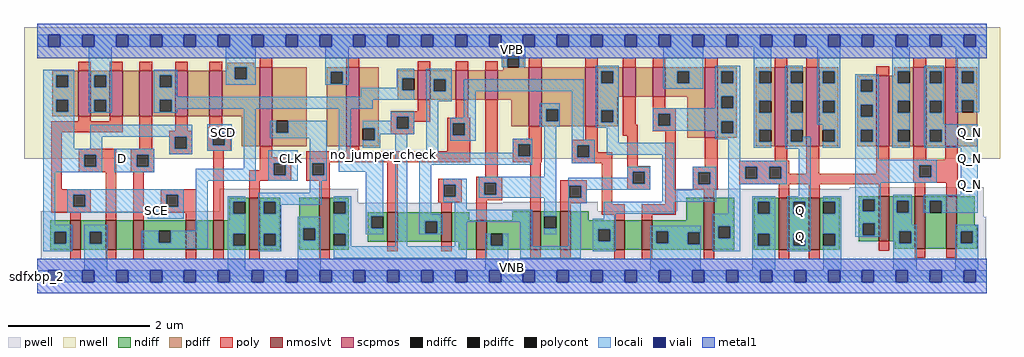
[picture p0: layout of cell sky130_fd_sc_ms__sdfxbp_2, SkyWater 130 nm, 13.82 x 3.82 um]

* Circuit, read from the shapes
.subckt sky130_fd_sc_ms__sdfxbp_2 CLK D SCD SCE VGND VNB VPB VPWR Q Q_N
XM1 VGND SCE n1 VNB sky130_fd_pr__nfet_01v8_lvt w=0.42 l=0.15
XM2 n2 n1 VGND VNB sky130_fd_pr__nfet_01v8_lvt w=0.42 l=0.15
XM3 n3 D n2 VNB sky130_fd_pr__nfet_01v8_lvt w=0.42 l=0.15
XM4 n4 SCE n3 VNB sky130_fd_pr__nfet_01v8_lvt w=0.42 l=0.15
XM5 VGND SCD n4 VNB sky130_fd_pr__nfet_01v8_lvt w=0.42 l=0.15
XM6 n5 CLK VGND VNB sky130_fd_pr__nfet_01v8_lvt w=0.74 l=0.15
XM7 n6 n5 VGND VNB sky130_fd_pr__nfet_01v8_lvt w=0.74 l=0.15
XM8 n7 n5 n3 VNB sky130_fd_pr__nfet_01v8_lvt w=0.42 l=0.15
XM9 n8 n6 n7 VNB sky130_fd_pr__nfet_01v8_lvt w=0.42 l=0.15
XM10 VGND n9 n8 VNB sky130_fd_pr__nfet_01v8_lvt w=0.42 l=0.15
XM11 n9 n7 VGND VNB sky130_fd_pr__nfet_01v8_lvt w=0.55 l=0.15
XM12 n10 n6 n9 VNB sky130_fd_pr__nfet_01v8_lvt w=0.55 l=0.15
XM13 n11 n5 n10 VNB sky130_fd_pr__nfet_01v8_lvt w=0.42 l=0.15
XM14 VGND n12 n11 VNB sky130_fd_pr__nfet_01v8_lvt w=0.42 l=0.15
XM15 n12 n10 VGND VNB sky130_fd_pr__nfet_01v8_lvt w=0.74 l=0.15
XM16 Q n12 VGND VNB sky130_fd_pr__nfet_01v8_lvt w=0.74 l=0.15 m=2
XM17 VGND n12 n13 VNB sky130_fd_pr__nfet_01v8_lvt w=0.64 l=0.15
XM18 Q_N n13 VGND VNB sky130_fd_pr__nfet_01v8_lvt w=0.74 l=0.15 m=2
XM19 VPWR SCE n1 VPB sky130_fd_pr__pfet_01v8 w=0.64 l=0.18
XM20 n14 SCE VPWR VPB sky130_fd_pr__pfet_01v8 w=0.64 l=0.18
XM21 n3 D n14 VPB sky130_fd_pr__pfet_01v8 w=0.64 l=0.18
XM22 n15 n1 n3 VPB sky130_fd_pr__pfet_01v8 w=0.64 l=0.18
XM23 VPWR SCD n15 VPB sky130_fd_pr__pfet_01v8 w=0.64 l=0.18
XM24 n5 CLK VPWR VPB sky130_fd_pr__pfet_01v8 w=1.12 l=0.18
XM25 n6 n5 VPWR VPB sky130_fd_pr__pfet_01v8 w=1.12 l=0.18
XM26 n7 n6 n3 VPB sky130_fd_pr__pfet_01v8 w=0.42 l=0.18
XM27 n16 n5 n7 VPB sky130_fd_pr__pfet_01v8 w=0.42 l=0.18
XM28 VPWR n9 n16 VPB sky130_fd_pr__pfet_01v8 w=0.42 l=0.18
XM29 n9 n7 VPWR VPB sky130_fd_pr__pfet_01v8 w=0.84 l=0.18
XM30 n10 n5 n9 VPB sky130_fd_pr__pfet_01v8 w=0.84 l=0.18
XM31 n17 n6 n10 VPB sky130_fd_pr__pfet_01v8 w=0.42 l=0.18
XM32 VPWR n12 n17 VPB sky130_fd_pr__pfet_01v8 w=0.42 l=0.18
XM33 n12 n10 VPWR VPB sky130_fd_pr__pfet_01v8 w=1 l=0.18
XM34 Q n12 VPWR VPB sky130_fd_pr__pfet_01v8 w=1.12 l=0.18 m=2
XM35 VPWR n12 n13 VPB sky130_fd_pr__pfet_01v8 w=1 l=0.18
XM36 Q_N n13 VPWR VPB sky130_fd_pr__pfet_01v8 w=1.12 l=0.18 m=2
.ends

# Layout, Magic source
magic
tech sky130A
magscale 1 2
<< nwell >>
rect -38 332 2726 704
<< pwell >>
rect 2300 248 2680 252
rect 517 207 908 248
rect 1319 207 1587 210
rect 517 184 1587 207
rect 1811 184 2680 248
rect 10 168 2680 184
rect 10 49 2687 168
rect 0 0 2688 49
<< scpmos >>
rect 115 453 151 581
rect 205 453 241 581
rect 289 453 325 581
rect 390 453 426 581
rect 487 453 523 581
rect 629 368 665 592
rect 875 368 911 592
rect 1077 499 1113 583
rect 1184 499 1220 583
rect 1268 499 1304 583
rect 1392 424 1428 592
rect 1551 424 1587 592
rect 1658 508 1694 592
rect 1742 508 1778 592
rect 1890 392 1926 592
rect 2088 368 2124 592
rect 2178 368 2214 592
rect 2376 368 2412 568
rect 2481 368 2517 592
rect 2571 368 2607 592
<< nmoslvt >>
rect 93 74 123 158
rect 193 74 223 158
rect 271 74 301 158
rect 420 74 450 158
rect 498 74 528 158
rect 600 74 630 222
rect 798 74 828 222
rect 991 97 1021 181
rect 1143 97 1173 181
rect 1243 74 1273 158
rect 1395 74 1425 184
rect 1481 74 1511 184
rect 1633 74 1663 158
rect 1711 74 1741 158
rect 1887 74 1917 222
rect 2099 74 2129 222
rect 2185 74 2215 222
rect 2383 98 2413 226
rect 2485 78 2515 226
rect 2574 78 2604 226
<< ndiff >>
rect 543 210 600 222
rect 543 176 555 210
rect 589 176 600 210
rect 543 158 600 176
rect 36 125 93 158
rect 36 91 48 125
rect 82 91 93 125
rect 36 74 93 91
rect 123 125 193 158
rect 123 91 148 125
rect 182 91 193 125
rect 123 74 193 91
rect 223 74 271 158
rect 301 128 420 158
rect 301 94 343 128
rect 377 94 420 128
rect 301 74 420 94
rect 450 74 498 158
rect 528 120 600 158
rect 528 86 555 120
rect 589 86 600 120
rect 528 74 600 86
rect 630 210 687 222
rect 630 176 641 210
rect 675 176 687 210
rect 630 120 687 176
rect 630 86 641 120
rect 675 86 687 120
rect 630 74 687 86
rect 741 136 798 222
rect 741 102 753 136
rect 787 102 798 136
rect 741 74 798 102
rect 828 210 882 222
rect 828 176 839 210
rect 873 176 882 210
rect 828 120 882 176
rect 828 86 839 120
rect 873 86 882 120
rect 936 169 991 181
rect 936 135 946 169
rect 980 135 991 169
rect 936 97 991 135
rect 1021 156 1143 181
rect 1021 122 1098 156
rect 1132 122 1143 156
rect 1021 97 1143 122
rect 1173 158 1223 181
rect 1345 158 1395 184
rect 1173 97 1243 158
rect 828 74 882 86
rect 1193 74 1243 97
rect 1273 120 1395 158
rect 1273 86 1284 120
rect 1318 86 1395 120
rect 1273 74 1395 86
rect 1425 170 1481 184
rect 1425 136 1436 170
rect 1470 136 1481 170
rect 1425 74 1481 136
rect 1511 158 1561 184
rect 1837 158 1887 222
rect 1511 133 1633 158
rect 1511 99 1588 133
rect 1622 99 1633 133
rect 1511 74 1633 99
rect 1663 74 1711 158
rect 1741 127 1887 158
rect 1741 93 1752 127
rect 1786 124 1887 127
rect 1786 93 1842 124
rect 1741 90 1842 93
rect 1876 90 1887 124
rect 1741 74 1887 90
rect 1917 141 1974 222
rect 1917 107 1928 141
rect 1962 107 1974 141
rect 1917 74 1974 107
rect 2028 210 2099 222
rect 2028 176 2040 210
rect 2074 176 2099 210
rect 2028 120 2099 176
rect 2028 86 2040 120
rect 2074 86 2099 120
rect 2028 74 2099 86
rect 2129 210 2185 222
rect 2129 176 2140 210
rect 2174 176 2185 210
rect 2129 120 2185 176
rect 2129 86 2140 120
rect 2174 86 2185 120
rect 2129 74 2185 86
rect 2215 210 2272 222
rect 2215 176 2226 210
rect 2260 176 2272 210
rect 2215 120 2272 176
rect 2215 86 2226 120
rect 2260 86 2272 120
rect 2326 218 2383 226
rect 2326 184 2338 218
rect 2372 184 2383 218
rect 2326 150 2383 184
rect 2326 116 2338 150
rect 2372 116 2383 150
rect 2326 98 2383 116
rect 2413 214 2485 226
rect 2413 180 2434 214
rect 2468 180 2485 214
rect 2413 127 2485 180
rect 2413 98 2440 127
rect 2215 74 2272 86
rect 2428 93 2440 98
rect 2474 93 2485 127
rect 2428 78 2485 93
rect 2515 214 2574 226
rect 2515 180 2527 214
rect 2561 180 2574 214
rect 2515 78 2574 180
rect 2604 142 2654 226
rect 2604 127 2661 142
rect 2604 93 2615 127
rect 2649 93 2661 127
rect 2604 78 2661 93
<< pdiff >>
rect 1319 625 1377 637
rect 538 592 614 604
rect 538 581 559 592
rect 42 569 115 581
rect 42 535 54 569
rect 88 535 115 569
rect 42 499 115 535
rect 42 465 54 499
rect 88 465 115 499
rect 42 453 115 465
rect 151 569 205 581
rect 151 535 161 569
rect 195 535 205 569
rect 151 499 205 535
rect 151 465 161 499
rect 195 465 205 499
rect 151 453 205 465
rect 241 453 289 581
rect 325 569 390 581
rect 325 535 346 569
rect 380 535 390 569
rect 325 499 390 535
rect 325 465 346 499
rect 380 465 390 499
rect 325 453 390 465
rect 426 453 487 581
rect 523 558 559 581
rect 593 558 629 592
rect 523 453 629 558
rect 579 368 629 453
rect 665 440 763 592
rect 665 406 676 440
rect 710 406 763 440
rect 665 368 763 406
rect 819 578 875 592
rect 819 544 831 578
rect 865 544 875 578
rect 819 368 875 544
rect 911 419 967 592
rect 1319 591 1331 625
rect 1365 592 1377 625
rect 1365 591 1392 592
rect 1319 583 1392 591
rect 1021 560 1077 583
rect 1021 526 1033 560
rect 1067 526 1077 560
rect 1021 499 1077 526
rect 1113 558 1184 583
rect 1113 524 1123 558
rect 1157 524 1184 558
rect 1113 499 1184 524
rect 1220 499 1268 583
rect 1304 499 1392 583
rect 911 385 921 419
rect 955 385 967 419
rect 911 368 967 385
rect 1342 424 1392 499
rect 1428 473 1551 592
rect 1428 439 1441 473
rect 1475 439 1551 473
rect 1428 424 1551 439
rect 1587 580 1658 592
rect 1587 546 1597 580
rect 1631 546 1658 580
rect 1587 508 1658 546
rect 1694 508 1742 592
rect 1778 580 1890 592
rect 1778 546 1812 580
rect 1846 546 1890 580
rect 1778 508 1890 546
rect 1587 470 1643 508
rect 1587 436 1597 470
rect 1631 436 1643 470
rect 1587 424 1643 436
rect 1840 392 1890 508
rect 1926 580 1980 592
rect 1926 546 1936 580
rect 1970 546 1980 580
rect 1926 509 1980 546
rect 1926 475 1936 509
rect 1970 475 1980 509
rect 1926 438 1980 475
rect 1926 404 1936 438
rect 1970 404 1980 438
rect 1926 392 1980 404
rect 2034 580 2088 592
rect 2034 546 2044 580
rect 2078 546 2088 580
rect 2034 497 2088 546
rect 2034 463 2044 497
rect 2078 463 2088 497
rect 2034 414 2088 463
rect 2034 380 2044 414
rect 2078 380 2088 414
rect 2034 368 2088 380
rect 2124 580 2178 592
rect 2124 546 2134 580
rect 2168 546 2178 580
rect 2124 497 2178 546
rect 2124 463 2134 497
rect 2168 463 2178 497
rect 2124 414 2178 463
rect 2124 380 2134 414
rect 2168 380 2178 414
rect 2124 368 2178 380
rect 2214 580 2268 592
rect 2214 546 2224 580
rect 2258 546 2268 580
rect 2427 580 2481 592
rect 2427 568 2437 580
rect 2214 497 2268 546
rect 2214 463 2224 497
rect 2258 463 2268 497
rect 2214 414 2268 463
rect 2214 380 2224 414
rect 2258 380 2268 414
rect 2214 368 2268 380
rect 2322 556 2376 568
rect 2322 522 2332 556
rect 2366 522 2376 556
rect 2322 485 2376 522
rect 2322 451 2332 485
rect 2366 451 2376 485
rect 2322 414 2376 451
rect 2322 380 2332 414
rect 2366 380 2376 414
rect 2322 368 2376 380
rect 2412 546 2437 568
rect 2471 546 2481 580
rect 2412 497 2481 546
rect 2412 463 2437 497
rect 2471 463 2481 497
rect 2412 414 2481 463
rect 2412 380 2437 414
rect 2471 380 2481 414
rect 2412 368 2481 380
rect 2517 580 2571 592
rect 2517 546 2527 580
rect 2561 546 2571 580
rect 2517 497 2571 546
rect 2517 463 2527 497
rect 2561 463 2571 497
rect 2517 414 2571 463
rect 2517 380 2527 414
rect 2561 380 2571 414
rect 2517 368 2571 380
rect 2607 580 2661 592
rect 2607 546 2617 580
rect 2651 546 2661 580
rect 2607 498 2661 546
rect 2607 464 2617 498
rect 2651 464 2661 498
rect 2607 368 2661 464
<< ndiffc >>
rect 555 176 589 210
rect 48 91 82 125
rect 148 91 182 125
rect 343 94 377 128
rect 555 86 589 120
rect 641 176 675 210
rect 641 86 675 120
rect 753 102 787 136
rect 839 176 873 210
rect 839 86 873 120
rect 946 135 980 169
rect 1098 122 1132 156
rect 1284 86 1318 120
rect 1436 136 1470 170
rect 1588 99 1622 133
rect 1752 93 1786 127
rect 1842 90 1876 124
rect 1928 107 1962 141
rect 2040 176 2074 210
rect 2040 86 2074 120
rect 2140 176 2174 210
rect 2140 86 2174 120
rect 2226 176 2260 210
rect 2226 86 2260 120
rect 2338 184 2372 218
rect 2338 116 2372 150
rect 2434 180 2468 214
rect 2440 93 2474 127
rect 2527 180 2561 214
rect 2615 93 2649 127
<< pdiffc >>
rect 54 535 88 569
rect 54 465 88 499
rect 161 535 195 569
rect 161 465 195 499
rect 346 535 380 569
rect 346 465 380 499
rect 559 558 593 592
rect 676 406 710 440
rect 831 544 865 578
rect 1331 591 1365 625
rect 1033 526 1067 560
rect 1123 524 1157 558
rect 921 385 955 419
rect 1441 439 1475 473
rect 1597 546 1631 580
rect 1812 546 1846 580
rect 1597 436 1631 470
rect 1936 546 1970 580
rect 1936 475 1970 509
rect 1936 404 1970 438
rect 2044 546 2078 580
rect 2044 463 2078 497
rect 2044 380 2078 414
rect 2134 546 2168 580
rect 2134 463 2168 497
rect 2134 380 2168 414
rect 2224 546 2258 580
rect 2224 463 2258 497
rect 2224 380 2258 414
rect 2332 522 2366 556
rect 2332 451 2366 485
rect 2332 380 2366 414
rect 2437 546 2471 580
rect 2437 463 2471 497
rect 2437 380 2471 414
rect 2527 546 2561 580
rect 2527 463 2561 497
rect 2527 380 2561 414
rect 2617 546 2651 580
rect 2617 464 2651 498
<< poly >>
rect 115 581 151 607
rect 205 581 241 607
rect 289 581 325 607
rect 390 581 426 607
rect 487 581 523 607
rect 629 592 665 618
rect 875 592 911 618
rect 115 438 151 453
rect 205 438 241 453
rect 39 408 241 438
rect 39 246 69 408
rect 289 360 325 453
rect 390 411 426 453
rect 487 421 523 453
rect 373 395 439 411
rect 373 361 389 395
rect 423 361 439 395
rect 117 344 223 360
rect 117 310 133 344
rect 167 310 223 344
rect 117 294 223 310
rect 265 344 331 360
rect 373 345 439 361
rect 481 405 547 421
rect 481 371 497 405
rect 531 371 547 405
rect 481 355 547 371
rect 1077 583 1113 609
rect 1184 583 1220 609
rect 1268 583 1304 609
rect 1392 592 1428 618
rect 1551 592 1587 618
rect 1658 592 1694 618
rect 1742 592 1778 618
rect 1890 592 1926 618
rect 2088 592 2124 618
rect 2178 592 2214 618
rect 1077 467 1113 499
rect 1001 451 1113 467
rect 1001 417 1017 451
rect 1051 437 1113 451
rect 1184 449 1220 499
rect 1051 417 1067 437
rect 1001 401 1067 417
rect 1160 433 1226 449
rect 1160 399 1176 433
rect 1210 399 1226 433
rect 265 310 281 344
rect 315 310 331 344
rect 265 294 331 310
rect 39 230 151 246
rect 39 196 101 230
rect 135 196 151 230
rect 39 180 151 196
rect 93 158 123 180
rect 193 158 223 294
rect 271 158 301 294
rect 349 230 450 246
rect 349 196 365 230
rect 399 196 450 230
rect 349 180 450 196
rect 420 158 450 180
rect 498 158 528 355
rect 629 336 665 368
rect 875 353 911 368
rect 1160 353 1226 399
rect 629 320 719 336
rect 629 300 669 320
rect 600 286 669 300
rect 703 286 719 320
rect 600 270 719 286
rect 762 323 1226 353
rect 762 320 828 323
rect 762 286 778 320
rect 812 286 828 320
rect 762 270 828 286
rect 600 222 630 270
rect 798 222 828 270
rect 991 181 1021 323
rect 1268 281 1304 499
rect 1658 428 1694 508
rect 1742 476 1778 508
rect 1742 460 1808 476
rect 1392 389 1428 424
rect 1346 373 1428 389
rect 1551 386 1587 424
rect 1658 398 1700 428
rect 1742 426 1758 460
rect 1792 426 1808 460
rect 1742 410 1808 426
rect 1346 339 1362 373
rect 1396 339 1428 373
rect 1346 323 1428 339
rect 1513 370 1587 386
rect 1513 336 1529 370
rect 1563 350 1587 370
rect 1563 336 1628 350
rect 1135 259 1201 275
rect 1135 225 1151 259
rect 1185 225 1201 259
rect 1135 209 1201 225
rect 1243 265 1316 281
rect 1243 231 1266 265
rect 1300 231 1316 265
rect 1243 215 1316 231
rect 1143 181 1173 209
rect 1243 158 1273 215
rect 1395 184 1425 323
rect 1513 320 1628 336
rect 1481 256 1556 272
rect 1481 222 1506 256
rect 1540 222 1556 256
rect 1481 206 1556 222
rect 1481 184 1511 206
rect 1598 203 1628 320
rect 1670 311 1700 398
rect 1670 295 1736 311
rect 1670 261 1686 295
rect 1720 261 1736 295
rect 1670 245 1736 261
rect 1778 203 1808 410
rect 1890 310 1926 392
rect 2376 568 2412 594
rect 2481 592 2517 618
rect 2571 592 2607 618
rect 2088 326 2124 368
rect 1856 294 1926 310
rect 1856 260 1872 294
rect 1906 260 1926 294
rect 1988 310 2129 326
rect 1988 276 2004 310
rect 2038 276 2072 310
rect 2106 290 2129 310
rect 2178 290 2214 368
rect 2376 290 2412 368
rect 2481 330 2517 368
rect 2571 330 2607 368
rect 2481 314 2607 330
rect 2106 276 2413 290
rect 1988 260 2413 276
rect 2481 280 2497 314
rect 2531 280 2607 314
rect 2481 264 2607 280
rect 1856 244 1926 260
rect 1887 222 1917 244
rect 2099 222 2129 260
rect 2185 222 2215 260
rect 2383 226 2413 260
rect 2485 226 2515 264
rect 2574 226 2604 264
rect 93 48 123 74
rect 193 48 223 74
rect 271 48 301 74
rect 420 48 450 74
rect 498 48 528 74
rect 600 48 630 74
rect 798 48 828 74
rect 991 71 1021 97
rect 1143 71 1173 97
rect 1598 173 1663 203
rect 1633 158 1663 173
rect 1711 173 1808 203
rect 1711 158 1741 173
rect 1243 48 1273 74
rect 1395 48 1425 74
rect 1481 48 1511 74
rect 1633 48 1663 74
rect 1711 48 1741 74
rect 1887 48 1917 74
rect 2099 48 2129 74
rect 2185 48 2215 74
rect 2383 72 2413 98
rect 2485 52 2515 78
rect 2574 52 2604 78
<< polycont >>
rect 389 361 423 395
rect 133 310 167 344
rect 497 371 531 405
rect 1017 417 1051 451
rect 1176 399 1210 433
rect 281 310 315 344
rect 101 196 135 230
rect 365 196 399 230
rect 669 286 703 320
rect 778 286 812 320
rect 1758 426 1792 460
rect 1362 339 1396 373
rect 1529 336 1563 370
rect 1151 225 1185 259
rect 1266 231 1300 265
rect 1506 222 1540 256
rect 1686 261 1720 295
rect 1872 260 1906 294
rect 2004 276 2038 310
rect 2072 276 2106 310
rect 2497 280 2531 314
<< locali >>
rect 0 649 31 683
rect 65 649 127 683
rect 161 649 223 683
rect 257 649 319 683
rect 353 649 415 683
rect 449 649 511 683
rect 545 649 607 683
rect 641 649 703 683
rect 737 649 799 683
rect 833 649 895 683
rect 929 649 991 683
rect 1025 649 1087 683
rect 1121 649 1183 683
rect 1217 649 1279 683
rect 1313 649 1375 683
rect 1409 649 1471 683
rect 1505 649 1567 683
rect 1601 649 1663 683
rect 1697 649 1759 683
rect 1793 649 1855 683
rect 1889 649 1951 683
rect 1985 649 2047 683
rect 2081 649 2143 683
rect 2177 649 2239 683
rect 2273 649 2335 683
rect 2369 649 2431 683
rect 2465 649 2527 683
rect 2561 649 2623 683
rect 2657 649 2688 683
rect 17 569 104 585
rect 17 535 54 569
rect 88 535 104 569
rect 17 499 104 535
rect 17 465 54 499
rect 88 465 104 499
rect 17 360 104 465
rect 145 569 211 649
rect 534 592 618 649
rect 145 535 161 569
rect 195 535 211 569
rect 145 499 211 535
rect 145 465 161 499
rect 195 465 211 499
rect 145 462 211 465
rect 330 569 396 585
rect 330 535 346 569
rect 380 535 396 569
rect 534 558 559 592
rect 593 558 618 592
rect 534 542 618 558
rect 815 578 881 649
rect 1315 625 1381 649
rect 1315 591 1331 625
rect 1365 591 1381 625
rect 815 544 831 578
rect 865 544 881 578
rect 815 542 881 544
rect 1017 560 1067 587
rect 330 508 396 535
rect 1017 533 1033 560
rect 915 526 1033 533
rect 915 508 1067 526
rect 330 499 1067 508
rect 1101 558 1173 587
rect 1101 524 1123 558
rect 1157 524 1173 558
rect 1581 580 1647 596
rect 330 465 346 499
rect 380 474 949 499
rect 1101 495 1173 524
rect 1207 523 1547 557
rect 380 465 396 474
rect 330 462 396 465
rect 149 395 439 428
rect 149 394 389 395
rect 149 360 183 394
rect 373 361 389 394
rect 423 361 439 395
rect 17 344 183 360
rect 17 310 133 344
rect 167 310 183 344
rect 17 294 183 310
rect 217 344 331 360
rect 373 345 439 361
rect 481 405 551 430
rect 481 371 497 405
rect 531 371 551 405
rect 481 355 551 371
rect 217 310 281 344
rect 315 310 331 344
rect 217 294 331 310
rect 585 304 619 474
rect 659 406 676 440
rect 710 406 819 440
rect 659 390 819 406
rect 17 146 51 294
rect 449 270 619 304
rect 653 320 737 356
rect 653 286 669 320
rect 703 286 737 320
rect 653 270 737 286
rect 771 320 819 390
rect 771 286 778 320
rect 812 286 819 320
rect 853 330 887 474
rect 1001 451 1067 465
rect 1001 440 1017 451
rect 921 419 1017 440
rect 955 417 1017 419
rect 1051 417 1067 451
rect 955 401 1067 417
rect 955 385 971 401
rect 921 364 971 385
rect 853 296 980 330
rect 771 270 819 286
rect 85 230 415 246
rect 85 196 101 230
rect 135 196 365 230
rect 399 196 415 230
rect 85 180 415 196
rect 313 162 415 180
rect 17 125 98 146
rect 17 91 48 125
rect 82 91 98 125
rect 17 70 98 91
rect 132 125 198 146
rect 449 128 483 270
rect 771 236 805 270
rect 132 91 148 125
rect 182 91 198 125
rect 132 17 198 91
rect 296 94 343 128
rect 377 94 483 128
rect 296 78 483 94
rect 539 210 589 226
rect 539 176 555 210
rect 539 120 589 176
rect 539 86 555 120
rect 539 17 589 86
rect 625 210 805 236
rect 625 176 641 210
rect 675 202 805 210
rect 839 210 889 226
rect 675 176 691 202
rect 625 120 691 176
rect 873 176 889 210
rect 625 86 641 120
rect 675 86 691 120
rect 625 70 691 86
rect 737 136 803 168
rect 737 102 753 136
rect 787 102 803 136
rect 737 17 803 102
rect 839 120 889 176
rect 873 86 889 120
rect 930 169 980 296
rect 930 135 946 169
rect 930 119 980 135
rect 839 85 889 86
rect 1014 85 1048 401
rect 1101 349 1135 495
rect 1207 449 1241 523
rect 1169 433 1241 449
rect 1169 399 1176 433
rect 1210 399 1241 433
rect 1422 473 1479 489
rect 1422 439 1441 473
rect 1475 439 1479 473
rect 1422 423 1479 439
rect 1169 383 1241 399
rect 1346 373 1402 389
rect 1346 349 1362 373
rect 1082 339 1362 349
rect 1396 339 1402 373
rect 1082 315 1402 339
rect 1082 175 1116 315
rect 1436 281 1470 423
rect 1513 386 1547 523
rect 1581 546 1597 580
rect 1631 546 1647 580
rect 1581 470 1647 546
rect 1772 580 1886 649
rect 1772 546 1812 580
rect 1846 546 1886 580
rect 1772 530 1886 546
rect 1920 580 1990 596
rect 1920 546 1936 580
rect 1970 546 1990 580
rect 1920 509 1990 546
rect 1920 476 1936 509
rect 1581 436 1597 470
rect 1631 436 1647 470
rect 1581 420 1647 436
rect 1513 370 1579 386
rect 1513 336 1529 370
rect 1563 336 1579 370
rect 1613 378 1647 420
rect 1742 475 1936 476
rect 1970 475 1990 509
rect 1742 460 1990 475
rect 1742 426 1758 460
rect 1792 438 1990 460
rect 1792 426 1936 438
rect 1742 412 1936 426
rect 1920 404 1936 412
rect 1970 404 1990 438
rect 1920 388 1990 404
rect 1613 344 1804 378
rect 1513 320 1579 336
rect 1150 259 1216 275
rect 1150 225 1151 259
rect 1185 225 1216 259
rect 1150 209 1216 225
rect 1250 265 1470 281
rect 1670 295 1736 310
rect 1670 279 1686 295
rect 1250 231 1266 265
rect 1300 231 1470 265
rect 1250 222 1470 231
rect 1182 188 1216 209
rect 1082 156 1148 175
rect 1082 122 1098 156
rect 1132 122 1148 156
rect 1082 119 1148 122
rect 1182 154 1402 188
rect 1182 85 1216 154
rect 839 51 1216 85
rect 1268 86 1284 120
rect 1318 86 1334 120
rect 1268 17 1334 86
rect 1368 85 1402 154
rect 1436 170 1470 222
rect 1436 119 1470 136
rect 1504 261 1686 279
rect 1720 261 1736 295
rect 1504 256 1736 261
rect 1504 222 1506 256
rect 1540 245 1736 256
rect 1770 245 1804 344
rect 1956 326 1990 388
rect 2028 580 2078 649
rect 2028 546 2044 580
rect 2028 497 2078 546
rect 2028 463 2044 497
rect 2028 414 2078 463
rect 2028 380 2044 414
rect 2028 364 2078 380
rect 2118 580 2168 596
rect 2118 546 2134 580
rect 2118 497 2168 546
rect 2118 463 2134 497
rect 2118 414 2168 463
rect 2208 580 2274 649
rect 2208 546 2224 580
rect 2258 546 2274 580
rect 2421 580 2471 649
rect 2208 497 2274 546
rect 2208 463 2224 497
rect 2258 463 2274 497
rect 2208 428 2274 463
rect 2118 380 2134 414
rect 2224 414 2274 428
rect 2168 380 2190 394
rect 2118 360 2190 380
rect 2258 380 2274 414
rect 2224 364 2274 380
rect 2316 556 2382 572
rect 2316 522 2332 556
rect 2366 522 2382 556
rect 2316 485 2382 522
rect 2316 451 2332 485
rect 2366 451 2382 485
rect 2316 414 2382 451
rect 2316 380 2332 414
rect 2366 380 2382 414
rect 1956 310 2122 326
rect 1856 294 1922 310
rect 1856 260 1872 294
rect 1906 260 1922 294
rect 1856 245 1922 260
rect 1540 222 1556 245
rect 1504 206 1556 222
rect 1770 211 1922 245
rect 1956 276 2004 310
rect 2038 276 2072 310
rect 2106 276 2122 310
rect 1956 260 2122 276
rect 1504 85 1538 206
rect 1604 177 1804 211
rect 1956 177 1990 260
rect 2156 226 2190 360
rect 2316 330 2382 380
rect 2421 546 2437 580
rect 2421 497 2471 546
rect 2421 463 2437 497
rect 2421 414 2471 463
rect 2421 380 2437 414
rect 2421 364 2471 380
rect 2511 580 2567 596
rect 2511 546 2527 580
rect 2561 546 2567 580
rect 2511 497 2567 546
rect 2511 463 2527 497
rect 2561 463 2567 497
rect 2601 580 2667 649
rect 2601 546 2617 580
rect 2651 546 2667 580
rect 2601 498 2667 546
rect 2601 464 2617 498
rect 2651 464 2667 498
rect 2511 430 2567 463
rect 2511 414 2663 430
rect 2511 380 2527 414
rect 2561 380 2663 414
rect 2511 364 2663 380
rect 2316 314 2547 330
rect 2316 280 2497 314
rect 2531 280 2547 314
rect 2316 264 2547 280
rect 1604 162 1638 177
rect 1368 51 1538 85
rect 1572 133 1638 162
rect 1572 99 1588 133
rect 1622 99 1638 133
rect 1572 70 1638 99
rect 1736 127 1878 143
rect 1736 93 1752 127
rect 1786 124 1878 127
rect 1786 93 1842 124
rect 1736 90 1842 93
rect 1876 90 1878 124
rect 1736 17 1878 90
rect 1912 141 1990 177
rect 1912 107 1928 141
rect 1962 107 1990 141
rect 1912 70 1990 107
rect 2024 210 2090 226
rect 2024 176 2040 210
rect 2074 176 2090 210
rect 2024 120 2090 176
rect 2024 86 2040 120
rect 2074 86 2090 120
rect 2024 17 2090 86
rect 2124 210 2190 226
rect 2124 176 2140 210
rect 2174 176 2190 210
rect 2124 120 2190 176
rect 2124 86 2140 120
rect 2174 86 2190 120
rect 2124 70 2190 86
rect 2226 210 2276 226
rect 2260 176 2276 210
rect 2226 120 2276 176
rect 2260 86 2276 120
rect 2316 218 2388 264
rect 2615 230 2663 364
rect 2316 184 2338 218
rect 2372 184 2388 218
rect 2316 150 2388 184
rect 2316 116 2338 150
rect 2372 116 2388 150
rect 2316 112 2388 116
rect 2424 214 2476 230
rect 2424 180 2434 214
rect 2468 180 2476 214
rect 2510 214 2663 230
rect 2510 180 2527 214
rect 2561 180 2663 214
rect 2424 146 2476 180
rect 2424 127 2490 146
rect 2226 17 2276 86
rect 2424 93 2440 127
rect 2474 93 2490 127
rect 2424 17 2490 93
rect 2599 127 2665 146
rect 2599 93 2615 127
rect 2649 93 2665 127
rect 2599 17 2665 93
rect 0 -17 31 17
rect 65 -17 127 17
rect 161 -17 223 17
rect 257 -17 319 17
rect 353 -17 415 17
rect 449 -17 511 17
rect 545 -17 607 17
rect 641 -17 703 17
rect 737 -17 799 17
rect 833 -17 895 17
rect 929 -17 991 17
rect 1025 -17 1087 17
rect 1121 -17 1183 17
rect 1217 -17 1279 17
rect 1313 -17 1375 17
rect 1409 -17 1471 17
rect 1505 -17 1567 17
rect 1601 -17 1663 17
rect 1697 -17 1759 17
rect 1793 -17 1855 17
rect 1889 -17 1951 17
rect 1985 -17 2047 17
rect 2081 -17 2143 17
rect 2177 -17 2239 17
rect 2273 -17 2335 17
rect 2369 -17 2431 17
rect 2465 -17 2527 17
rect 2561 -17 2623 17
rect 2657 -17 2688 17
<< viali >>
rect 31 649 65 683
rect 127 649 161 683
rect 223 649 257 683
rect 319 649 353 683
rect 415 649 449 683
rect 511 649 545 683
rect 607 649 641 683
rect 703 649 737 683
rect 799 649 833 683
rect 895 649 929 683
rect 991 649 1025 683
rect 1087 649 1121 683
rect 1183 649 1217 683
rect 1279 649 1313 683
rect 1375 649 1409 683
rect 1471 649 1505 683
rect 1567 649 1601 683
rect 1663 649 1697 683
rect 1759 649 1793 683
rect 1855 649 1889 683
rect 1951 649 1985 683
rect 2047 649 2081 683
rect 2143 649 2177 683
rect 2239 649 2273 683
rect 2335 649 2369 683
rect 2431 649 2465 683
rect 2527 649 2561 683
rect 2623 649 2657 683
rect 31 -17 65 17
rect 127 -17 161 17
rect 223 -17 257 17
rect 319 -17 353 17
rect 415 -17 449 17
rect 511 -17 545 17
rect 607 -17 641 17
rect 703 -17 737 17
rect 799 -17 833 17
rect 895 -17 929 17
rect 991 -17 1025 17
rect 1087 -17 1121 17
rect 1183 -17 1217 17
rect 1279 -17 1313 17
rect 1375 -17 1409 17
rect 1471 -17 1505 17
rect 1567 -17 1601 17
rect 1663 -17 1697 17
rect 1759 -17 1793 17
rect 1855 -17 1889 17
rect 1951 -17 1985 17
rect 2047 -17 2081 17
rect 2143 -17 2177 17
rect 2239 -17 2273 17
rect 2335 -17 2369 17
rect 2431 -17 2465 17
rect 2527 -17 2561 17
rect 2623 -17 2657 17
<< metal1 >>
rect 0 683 2688 715
rect 0 649 31 683
rect 65 649 127 683
rect 161 649 223 683
rect 257 649 319 683
rect 353 649 415 683
rect 449 649 511 683
rect 545 649 607 683
rect 641 649 703 683
rect 737 649 799 683
rect 833 649 895 683
rect 929 649 991 683
rect 1025 649 1087 683
rect 1121 649 1183 683
rect 1217 649 1279 683
rect 1313 649 1375 683
rect 1409 649 1471 683
rect 1505 649 1567 683
rect 1601 649 1663 683
rect 1697 649 1759 683
rect 1793 649 1855 683
rect 1889 649 1951 683
rect 1985 649 2047 683
rect 2081 649 2143 683
rect 2177 649 2239 683
rect 2273 649 2335 683
rect 2369 649 2431 683
rect 2465 649 2527 683
rect 2561 649 2623 683
rect 2657 649 2688 683
rect 0 617 2688 649
rect 0 17 2688 49
rect 0 -17 31 17
rect 65 -17 127 17
rect 161 -17 223 17
rect 257 -17 319 17
rect 353 -17 415 17
rect 449 -17 511 17
rect 545 -17 607 17
rect 641 -17 703 17
rect 737 -17 799 17
rect 833 -17 895 17
rect 929 -17 991 17
rect 1025 -17 1087 17
rect 1121 -17 1183 17
rect 1217 -17 1279 17
rect 1313 -17 1375 17
rect 1409 -17 1471 17
rect 1505 -17 1567 17
rect 1601 -17 1663 17
rect 1697 -17 1759 17
rect 1793 -17 1855 17
rect 1889 -17 1951 17
rect 1985 -17 2047 17
rect 2081 -17 2143 17
rect 2177 -17 2239 17
rect 2273 -17 2335 17
rect 2369 -17 2431 17
rect 2465 -17 2527 17
rect 2561 -17 2623 17
rect 2657 -17 2688 17
rect 0 -49 2688 -17
<< labels >>
flabel pwell s 0 0 2688 49 0 FreeSans 200 0 0 0 VNB
port 6 nsew ground bidirectional
flabel nwell s 0 617 2688 666 0 FreeSans 200 0 0 0 VPB
port 7 nsew power bidirectional
rlabel comment s 0 0 0 0 4 sdfxbp_2
flabel comment s 979 344 979 344 0 FreeSans 200 0 0 0 no_jumper_check
flabel metal1 s 0 617 2688 666 0 FreeSans 340 0 0 0 VPWR
port 8 nsew power bidirectional
flabel metal1 s 0 0 2688 49 0 FreeSans 340 0 0 0 VGND
port 5 nsew ground bidirectional
flabel locali s 319 168 353 202 0 FreeSans 340 0 0 0 SCE
port 4 nsew signal input
flabel locali s 703 316 737 350 0 FreeSans 340 0 0 0 CLK
port 1 nsew clock input
flabel locali s 223 316 257 350 0 FreeSans 340 0 0 0 D
port 2 nsew signal input
flabel locali s 511 390 545 424 0 FreeSans 340 0 0 0 SCD
port 3 nsew signal input
flabel locali s 2143 94 2177 128 0 FreeSans 340 0 0 0 Q
port 9 nsew signal output
flabel locali s 2143 168 2177 202 0 FreeSans 340 0 0 0 Q
port 9 nsew signal output
flabel locali s 2623 242 2657 276 0 FreeSans 340 0 0 0 Q_N
port 10 nsew signal output
flabel locali s 2623 316 2657 350 0 FreeSans 340 0 0 0 Q_N
port 10 nsew signal output
flabel locali s 2623 390 2657 424 0 FreeSans 340 0 0 0 Q_N
port 10 nsew signal output
<< properties >>
string LEFsite unit
string LEFclass CORE
string FIXED_BBOX 0 0 2688 666
string GDS_FILE $PDKPATH/libs.ref/sky130_fd_sc_ms/gds/sky130_fd_sc_ms.gds
string LEFsymmetry X Y
string GDS_END 4027000
string GDS_START 4007876
<< end >>
